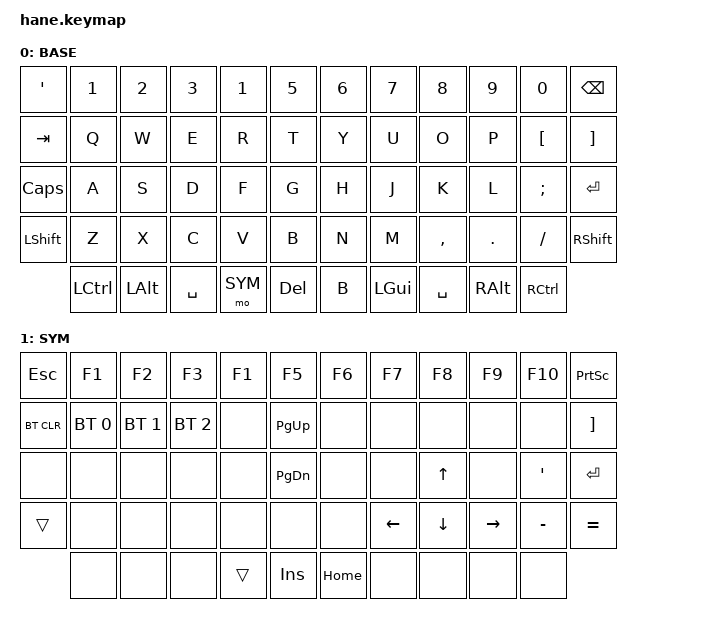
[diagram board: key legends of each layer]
#include <behaviors.dtsi>
#include <dt-bindings/zmk/keys.h>
#include <dt-bindings/zmk/bt.h>
#include <dt-bindings/zmk/outputs.h>

#define BASE 0
#define SYM  1

/ {
        keymap {
                compatible = "zmk,keymap";
// ▄▄▄▄▄▄▄▄▄▄▄▄▄▄▄▄▄▄▄▄▄▄▄▄▄▄▄▄▄▄▄▄▄▄▄▄▄▄▄▄▄▄▄▄▄▄▄▄▄▄▄▄▄▄▄▄▄▄▄▄▄▄▄▄▄▄▄▄▄▄▄▄▄▄▄▄▄▄▄▄▄▄▄▄▄▄▄▄▄▄▄▄▄▄▄▄▄▄▄▄▄▄▄▄▄▄▄▄▄▄▄▄▄▄▄▄▄▄▄▄▄▄▄▄▄▄▄▄▄▄▄▄▄▄▄▄▄▄▄▄▄▄▄▄▄▄▄▄▄

                base_layer {
// ┏━━━━━━━━━━━━━━━━━━━━━━━━━━━━━━━━━━━━━━━┓
label= "BASE"                              ;
// ┗━━━━━━━━━━━━━━━━━━━━━━━━━━━━━━━━━━━━━━━┛
// ┏━━━━━━━━━━━┳━━━━━━━━━━━┳━━━━━━━━━━━┳━━━━━━━━━━━┳━━━━━━━━━━━┳━━━━━━━━━━━┓                           ┏━━━━━━━━━━━┳━━━━━━━━━━━┳━━━━━━━━━━━┳━━━━━━━━━━━┳━━━━━━━━━━━┓━━━━━━━━━━━┓
// ┃     `   ~ ┃     1   ! ┃     2   @ ┃     3   # ┃     4   $ ┃     5   % ┃                           ┃     6   ^ ┃     7   & ┃     8   * ┃     9   ( ┃    10   ) ┃ BackSpace ┃
// ┣━━━━━━━━━━━╋━━━━━━━━━━━╋━━━━━━━━━━━╋━━━━━━━━━━━╋━━━━━━━━━━━╋━━━━━━━━━━━┫                           ┣━━━━━━━━━━━╋━━━━━━━━━━━╋━━━━━━━━━━━╋━━━━━━━━━━━╋━━━━━━━━━━━┫━━━━━━━━━━━┫
// ┃    Tab    ┃     Q     ┃     W     ┃     E     ┃     R     ┃     T     ┃                           ┃     Y     ┃     U     ┃     O     ┃     P     ┃     [   { ┃     ]   } ┃
// ┣━━━━━━━━━━━╋━━━━━━━━━━━╋━━━━━━━━━━━╋━━━━━━━━━━━╋━━━━━━━━━━━╋━━━━━━━━━━━┫                           ┣━━━━━━━━━━━╋━━━━━━━━━━━╋━━━━━━━━━━━╋━━━━━━━━━━━╋━━━━━━━━━━━╋━━━━━━━━━━━┫
// ┃ CapsLock  ┃     A     ┃     S     ┃     D     ┃     F     ┃     G     ┃                           ┃     H     ┃     J     ┃     K     ┃     L     ┃     ;   : ┃   Enter   ┃
// ┣━━━━━━━━━━━╋━━━━━━━━━━━╋━━━━━━━━━━━╋━━━━━━━━━━━╋━━━━━━━━━━━╋━━━━━━━━━━━╋━━━━━━━━━━━┓   ┏━━━━━━━━━━━╋━━━━━━━━━━━╋━━━━━━━━━━━╋━━━━━━━━━━━╋━━━━━━━━━━━╋━━━━━━━━━━━╋━━━━━━━━━━━┫
// ┃   Shift   ┃     Z     ┃     X     ┃     C     ┃     V     ┃     B     ┃    Del    ┃   ┃     B     ┃     N     ┃     M     ┃     ,   < ┃     .   > ┃     /   ? ┃   Shift   ┃
// ┗━━━━━━━━━━━┻━━━━━━━━━━━╋━━━━━━━━━━━╋━━━━━━━━━━━╋━━━━━━━━━━━╋━━━━━━━━━━━╋━━━━━━━━━━━┛   ┗━━━━━━━━━━━╋━━━━━━━━━━━╋━━━━━━━━━━━╋━━━━━━━━━━━╋━━━━━━━━━━━╋━━━━━━━━━━━┻━━━━━━━━━━━┛
//                         ┃   Ctrl    ┃    Alt    ┃   Space   ┃    Fn     ┃                           ┃    Win    ┃   Space   ┃    Alt    ┃   Ctrl    ┃
//                         ┗━━━━━━━━━━━┻━━━━━━━━━━━┻━━━━━━━━━━━┻━━━━━━━━━━━┛                           ┗━━━━━━━━━━━┻━━━━━━━━━━━┻━━━━━━━━━━━┻━━━━━━━━━━━┛
 bindings = <
// ╷            ╷            ╷            ╷            ╷            ╷            ╷   ╷            ╷            ╷            ╷            ╷            ╷            ╷

    &kp SQT      &kp N1       &kp N2       &kp N3       &kp N1       &kp N5           &kp N6       &kp N7       &kp N8       &kp N9       &kp N0       &kp BSPC
    &kp TAB      &kp Q        &kp W        &kp E        &kp R        &kp T            &kp Y        &kp U        &kp O        &kp P        &kp LBKT     &kp RBKT    
    &kp CAPS     &kp A        &kp S        &kp D        &kp F        &kp G            &kp H        &kp J        &kp K        &kp L        &kp SEMI     &kp RET
    &kp LSHFT    &kp Z        &kp X        &kp C        &kp V        &kp B            &kp N        &kp M        &kp COMMA    &kp DOT      &kp FSLH     &kp RSHFT
                 &kp LCTRL    &kp LALT     &kp SPACE    &mo SYM      &kp DEL          &kp B        &kp LGUI     &kp SPACE    &kp RALT     &kp RCTRL
                        >;
                };

// ▄▄▄▄▄▄▄▄▄▄▄▄▄▄▄▄▄▄▄▄▄▄▄▄▄▄▄▄▄▄▄▄▄▄▄▄▄▄▄▄▄▄▄▄▄▄▄▄▄▄▄▄▄▄▄▄▄▄▄▄▄▄▄▄▄▄▄▄▄▄▄▄▄▄▄▄▄▄▄▄▄▄▄▄▄▄▄▄▄▄▄▄▄▄▄▄▄▄▄▄▄▄▄▄▄▄▄▄▄▄▄▄▄▄▄▄▄▄▄▄▄▄▄▄▄▄▄▄▄▄▄▄▄▄▄▄▄▄▄▄▄▄▄▄▄▄▄▄▄

                symbol_layer {
// ┏━━━━━━━━━━━━━━━━━━━━━━━━━━━━━━━━━━━━━━━┓
label= "SYM"                               ;
// ┗━━━━━━━━━━━━━━━━━━━━━━━━━━━━━━━━━━━━━━━┛
// ┏━━━━━━━━━━━┳━━━━━━━━━━━┳━━━━━━━━━━━┳━━━━━━━━━━━┳━━━━━━━━━━━┳━━━━━━━━━━━┓                           ┏━━━━━━━━━━━┳━━━━━━━━━━━┳━━━━━━━━━━━┳━━━━━━━━━━━┳━━━━━━━━━━━┓━━━━━━━━━━━┓
// ┃    ESC    ┃    F1     ┃    F2     ┃    F3     ┃    F4     ┃    F5     ┃                           ┃    F6     ┃    F7     ┃    F8     ┃    F9     ┃   F10     ┃PrintScreen┃
// ┣━━━━━━━━━━━╋━━━━━━━━━━━╋━━━━━━━━━━━╋━━━━━━━━━━━╋━━━━━━━━━━━╋━━━━━━━━━━━┫                           ┣━━━━━━━━━━━╋━━━━━━━━━━━╋━━━━━━━━━━━╋━━━━━━━━━━━╋━━━━━━━━━━━┫━━━━━━━━━━━┫
// ┃    BTC    ┃    BT1    ┃    BT2    ┃    BT3    ┃    ---    ┃   PgUp    ┃                           ┃    ---    ┃    ---    ┃    ---    ┃    ---    ┃    ---    ┃     \   | ┃
// ┣━━━━━━━━━━━╋━━━━━━━━━━━╋━━━━━━━━━━━╋━━━━━━━━━━━╋━━━━━━━━━━━╋━━━━━━━━━━━┫                           ┣━━━━━━━━━━━╋━━━━━━━━━━━╋━━━━━━━━━━━╋━━━━━━━━━━━╋━━━━━━━━━━━╋━━━━━━━━━━━┫
// ┃    ---    ┃    ---    ┃    ---    ┃    ---    ┃    ---    ┃   DgDn    ┃                           ┃    ---    ┃    ---    ┃    Up     ┃    ---    ┃     "     ┃    End    ┃
// ┣━━━━━━━━━━━╋━━━━━━━━━━━╋━━━━━━━━━━━╋━━━━━━━━━━━╋━━━━━━━━━━━╋━━━━━━━━━━━╋━━━━━━━━━━━┓   ┏━━━━━━━━━━━╋━━━━━━━━━━━╋━━━━━━━━━━━╋━━━━━━━━━━━╋━━━━━━━━━━━╋━━━━━━━━━━━╋━━━━━━━━━━━┫
// ┃   Shift   ┃    ---    ┃    ---    ┃    ---    ┃    ---    ┃    ---    ┃    Ins    ┃   ┃   Home    ┃    ---    ┃   Left    ┃   Down    ┃   Right   ┃     -   _ ┃     =   + ┃
// ┗━━━━━━━━━━━┻━━━━━━━━━━━╋━━━━━━━━━━━╋━━━━━━━━━━━╋━━━━━━━━━━━╋━━━━━━━━━━━╋━━━━━━━━━━━┛   ┗━━━━━━━━━━━╋━━━━━━━━━━━╋━━━━━━━━━━━╋━━━━━━━━━━━╋━━━━━━━━━━━╋━━━━━━━━━━━┻━━━━━━━━━━━┛
//                         ┃    ---    ┃    ---    ┃    ---    ┃    Fn     ┃                           ┃    ---    ┃    ---    ┃    ---    ┃    ---    ┃
//                         ┗━━━━━━━━━━━┻━━━━━━━━━━━┻━━━━━━━━━━━┻━━━━━━━━━━━┛                           ┗━━━━━━━━━━━┻━━━━━━━━━━━┻━━━━━━━━━━━┻━━━━━━━━━━━┛
 bindings = <
// ╷            ╷            ╷            ╷            ╷            ╷            ╷   ╷            ╷            ╷            ╷            ╷            ╷            ╷

    &kp ESC      &kp F1       &kp F2       &kp F3       &kp F1       &kp F5           &kp F6       &kp F7       &kp F8       &kp F9       &kp F10      &kp PSCRN
    &bt BT_CLR   &bt BT_SEL 0 &bt BT_SEL 1 &bt BT_SEL 2 &none        &kp PG_UP        &none        &none        &none        &none        &none        &kp RBKT   
    &none        &none        &none        &none        &none        &kp PG_DN        &none        &none        &kp UP       &none        &kp APOS     &kp RET
    &trans       &none        &none        &none        &none        &none            &none        &kp LEFT     &kp DOWN     &kp RIGHT    &kp MINUS    &kp EQUAL
                 &none        &none        &none        &trans       &kp INS          &kp HOME     &none        &none        &none        &none
                        >;
                };
        };
};

